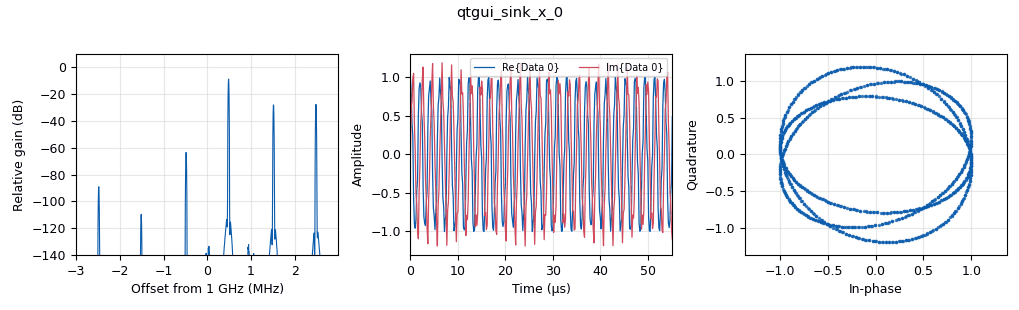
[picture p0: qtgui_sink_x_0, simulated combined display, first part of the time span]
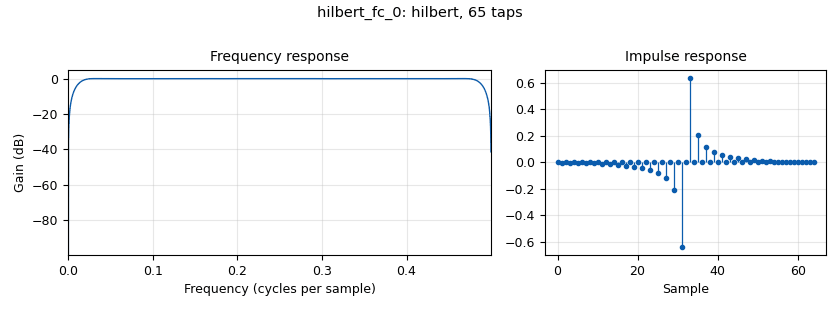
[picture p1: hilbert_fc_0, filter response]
options:
  parameters:
    generate_options: qt_gui
    id: tx
    output_language: python
    title: Not titled yet
  states: {}

blocks:
- name: samp_rate
  id: variable
  parameters:
    value: '6000000'
  states: {}
- name: analog_sig_source_x_0
  id: analog_sig_source_x
  parameters:
    amp: '1'
    freq: '10000000'
    offset: '0'
    phase: '0'
    samp_rate: samp_rate
    type: float
    waveform: analog.GR_SAW_WAVE
  states: {}
- name: blocks_vco_f_0
  id: blocks_vco_f
  parameters:
    amplitude: '1'
    samp_rate: samp_rate
    sensitivity: '6280000'
  states: {}
- name: hilbert_fc_0
  id: hilbert_fc
  parameters:
    num_taps: '64'
  states: {}
- name: qtgui_sink_x_0
  id: qtgui_sink_x
  parameters:
    bw: samp_rate
    fc: '1000000000'
    fftsize: '1024'
    rate: '15'
    type: complex
  states: {}
- name: soapy_hackrf_sink_0
  id: soapy_hackrf_sink
  parameters:
    center_freq: '1000000000'
    samp_rate: '2000000'
    type: fc32
  states: {}
- name: uhd_usrp_sink_0
  id: uhd_usrp_sink
  parameters:
    ant0: '"TX/RX"'
    center_freq0: '1000000000'
    gain0: '0'
    samp_rate: '2000000'
    sync: sync
    type: fc32
  states: {state: disabled}

connections:
- [analog_sig_source_x_0, '0', blocks_vco_f_0, '0']
- [blocks_vco_f_0, '0', hilbert_fc_0, '0']
- [hilbert_fc_0, '0', qtgui_sink_x_0, '0']
- [hilbert_fc_0, '0', soapy_hackrf_sink_0, '0']

metadata:
  file_format: 1
